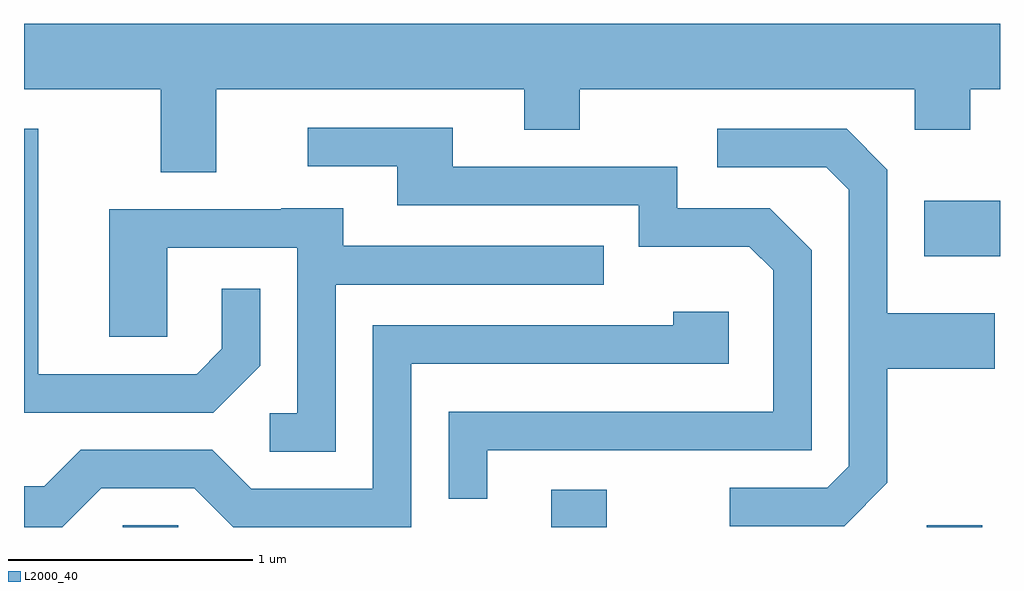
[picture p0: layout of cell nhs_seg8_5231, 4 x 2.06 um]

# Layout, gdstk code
import gdstk
lib = gdstk.Library(unit=1e-6, precision=1e-09)
def R(c, l, rs):  # rectangles x0, y0, x1, y1
    for r in rs: c.add(gdstk.rectangle(r[:2], r[2:], *l))
def P(c, l, *ps):  # polygons
    for p in ps: c.add(gdstk.Polygon(p, *l))
L2000_40 = (2000, 40)

nhs_seg8_5231 = lib.new_cell('nhs_seg8_5231')
R(nhs_seg8_5231, L2000_40, [(342.016,1892.342,342.244,1892.349), (343.771,1892.342,343.999,1892.494), (345.311,1892.342,345.539,1892.349), (345.301,1893.451,345.611,1893.679)])
P(nhs_seg8_5231, L2000_40, [(342.399,1894.136),(343.661,1894.136),(343.661,1893.971),(343.889,1893.971),(343.889,1894.136),(345.261,1894.136),(345.261,1893.971),(345.489,1893.971),(345.489,1894.136),(345.611,1894.136),(345.611,1894.404),(341.611,1894.404),(341.611,1894.136),(342.171,1894.136),(342.171,1893.796),(342.399,1893.796)],
  [(343.509,1892.656),(344.839,1892.656),(344.839,1893.477),(344.667,1893.649),(344.289,1893.649),(344.289,1893.819),(343.369,1893.819),(343.369,1893.979),(342.773,1893.979),(342.773,1893.821),(343.141,1893.821),(343.141,1893.661),(344.131,1893.661),(344.131,1893.491),(344.584,1893.491),(344.681,1893.394),(344.681,1892.814),(343.351,1892.814),(343.351,1892.458),(343.509,1892.458)],
  [(345.149,1892.524),(345.149,1892.991),(345.589,1892.991),(345.589,1893.219),(345.149,1893.219),(345.149,1893.807),(344.982,1893.974),(344.453,1893.974),(344.453,1893.816),(344.899,1893.816),(344.991,1893.724),(344.991,1892.592),(344.904,1892.504),(344.503,1892.504),(344.503,1892.346),(344.972,1892.346)],
  [(342.579,1893.004),(342.579,1893.318),(342.421,1893.318),(342.421,1893.072),(342.319,1892.969),(341.669,1892.969),(341.669,1893.974),(341.611,1893.974),(341.611,1892.811),(342.387,1892.811)],
  [(342.889,1893.336),(343.988,1893.336),(343.988,1893.494),(342.919,1893.494),(342.919,1893.649),(342.665,1893.649),(342.665,1893.644),(341.961,1893.644),(341.961,1893.121),(342.199,1893.121),(342.199,1893.486),(342.731,1893.486),(342.731,1892.809),(342.618,1892.809),(342.618,1892.651),(342.889,1892.651)],
  [(341.927,1892.501),(342.309,1892.501),(342.468,1892.342),(343.199,1892.342),(343.199,1893.011),(344.499,1893.011),(344.499,1893.224),(344.271,1893.224),(344.271,1893.169),(343.041,1893.169),(343.041,1892.499),(342.542,1892.499),(342.382,1892.659),(341.844,1892.659),(341.694,1892.509),(341.611,1892.509),(341.611,1892.342),(341.768,1892.342)])

lib.write_gds('nhs_seg8_5231.gds')
